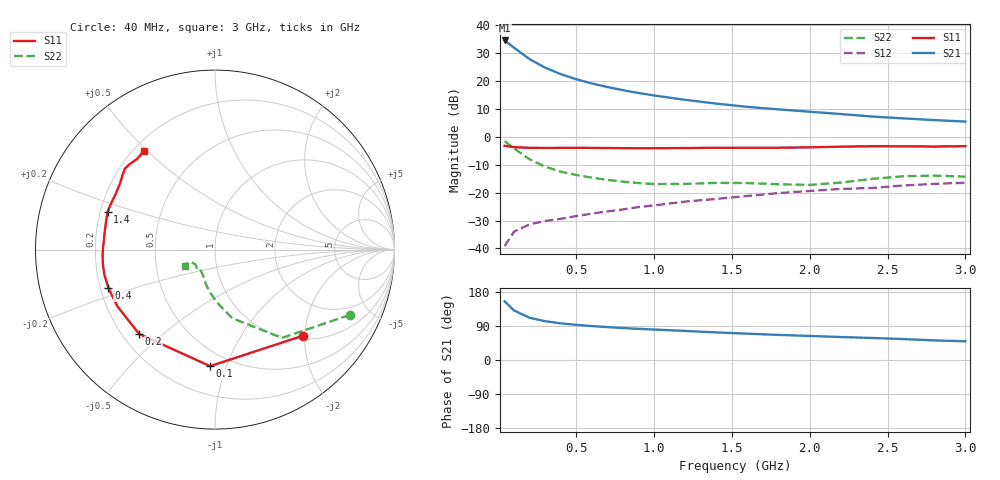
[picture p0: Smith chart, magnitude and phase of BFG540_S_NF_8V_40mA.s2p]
! Filename:  BFG540K.S2P  Version:  3.0
! Philips part #: BFG540  Date: Feb 1992
! Bias condition: Vce=8V, Ic=40mA
! IN LINE PINNING: same data as with cross emitter pinning.
#  MHz  S  MA  R  50
! Freq  S11  S21  S12  S22  !GUM [dB]
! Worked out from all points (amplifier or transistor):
!   21 points, 40 MHz to 3 GHz, reference 50 ohm
!   highest |S21| = 34.4 dB at 40 MHz (marker M1)
!   |S21| within 3 dB of that: start of sweep to 110.5 MHz
!   unconditionally stable (mu >= 1): 749.2 MHz to end of sweep
!   at 300 MHz: K = 0.62, MSG = 27.4 dB, |S12| = -30.2 dB
!   at 1 GHz: K = 1.10, MAG = 17.7 dB, |S12| = -24.6 dB
!   at 3 GHz: K = 1.17, MAG = 8.5 dB, |S12| = -16.5 dB
!   lowest NFmin = 1.90 dB at 900 MHz
!   S11 on the Smith chart (normalised r, x): 40 MHz: 1.08, -1.97; 100 MHz: 0.39, -0.88; 200 MHz: 0.27, -0.42; 400 MHz: 0.23, -0.17; 1.4 GHz: 0.23, +0.16; 3 GHz: 0.24, +0.49
40  0.687 -44.2  52.66 154.8  0.011 69.5  0.834 -25.9
100  0.65 -92.4  39.17 130.8  0.02 53.2  0.617 -52.9
200  0.632 -132.0  24.43 111.5  0.027 45.1  0.394 -75.9
300  0.629 -149.9  17.18 102.4  0.031 45.1  0.291 -88.6
400  0.631 -160.2  13.17 96.8  0.034 48.1  0.237 -97.2
500  0.632 -167.2  10.67 92.8  0.038 50.7  0.206 -103.3
600  0.63 -172.5  8.971 89.5  0.042 53.6  0.185 -108.0
700  0.627 -177.0  7.733 86.8  0.046 55.8  0.169 -111.9
800  0.624 179.0  6.793 84.3  0.05 57.6  0.157 -115.6
900  0.621 175.3  6.051 82.2  0.055 59.2  0.148 -119.7
1000  0.622 171.6  5.458 80.4  0.059 60.9  0.142 -123.8
1200  0.627 165.4  4.559 76.7  0.069 62.8  0.143 -130.7
1400  0.634 160.5  3.902 72.8  0.077 63.5  0.149 -133.5
1600  0.634 155.9  3.417 69.4  0.087 65.1  0.148 -134.0
1800  0.634 150.7  3.078 66.2  0.098 64.7  0.141 -136.2
2000  0.645 145.1  2.796 63.5  0.107 65.4  0.137 -143.6
2200  0.662 141.0  2.542 60.6  0.116 65.2  0.151 -151.9
2400  0.675 138.1  2.293 58.1  0.121 65.6  0.176 -154.3
2600  0.673 135.0  2.127 55.3  0.134 64.6  0.196 -152.1
2800  0.666 130.8  1.981 51.7  0.143 62.3  0.201 -149.2
3000  0.677 125.7  1.864 49.4  0.15 62.8  0.193 -150.8
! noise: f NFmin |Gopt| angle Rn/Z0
900  1.9  0.263  155  0.14
2000  2.6  0.494  -162  0.13
